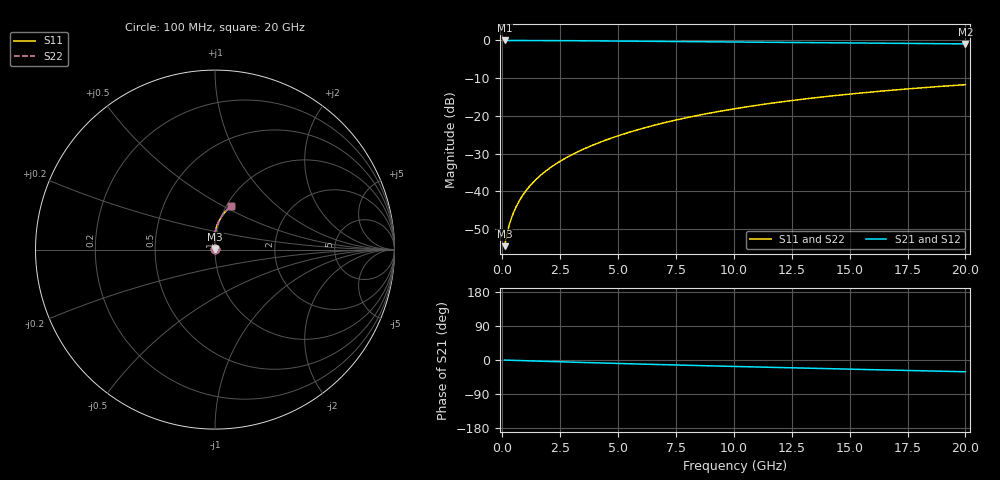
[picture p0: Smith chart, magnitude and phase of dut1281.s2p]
! Touchstone file exported from HFSS 2024.1.0
!  File:  C:/UserFiles/LocalFiles/RDL_TSV_Batchsim/temp_RDL_bottom_1281_1780246647.aedt
!  Generated:  12:59:52 AM Jun  1, 2026
!  Design:  RDL_bottom
!  Project:  temp_RDL_bottom_1281_1780246647
!  Setup:  Setup1
!  Solution:  Sweep
! Variables:
!  dtsv = 10.80580581um
!  hbump = 3um
!  htsv = 98.57um
!  ldown = 443.29um
!  lrdl = 100um
!  p = 40
!  p1 = 54.34um
!  rhole = 1um
!  t = 450um
!  tdown = 4.27um
!  trdl = 3.915915916um
!  wdown = 29.08um
!  wrdl = 20um
# GHz S MA R 50.000000
! Terminal data exported
! Port[1] = RDL1_T1
! Port[2] = RDL1_T2
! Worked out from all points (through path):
!   200 points, 100 MHz to 20 GHz, reference 50 ohm
!   highest |S21| = -0.01 dB at 100 MHz (marker M1); lowest = -0.9 dB at 20 GHz (marker M2)
!   group delay of S21, straight-line fit = 4.24 ps
!   lowest |S11| = -54.6 dB at 100 MHz (marker M3), VSWR 1.00, Z = 50.1 + j0.113 ohm
!   |S11| at or under -10 dB: start of sweep to end of sweep
!   |S22| runs from -54.6 to -11.7 dB; largest |S21 - S12| = 5.1e-15
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0.1  0.001871 37.2  0.9985 -0.2  0.9985 -0.2  0.001871 37.2
! Gamma 0 0 0 0
! Port Impedance 50 0 50 0
0.2  0.002704 53.7  0.9983 -0.4  0.9983 -0.4  0.002704 53.7
0.3  0.003583 61.8  0.9982 -0.6  0.9982 -0.6  0.003584 61.8
0.4  0.004463 66.9  0.9981 -0.8  0.9981 -0.8  0.004463 66.9
0.5  0.005348 70.6  0.9979 -1.0  0.9979 -1.0  0.005349 70.6
0.6  0.006245 73.5  0.9978 -1.2  0.9978 -1.2  0.006245 73.5
0.8  0.008073 77.6  0.9975 -1.5  0.9975 -1.5  0.008073 77.6
1.1  0.01089 81.6  0.997 -2.1  0.997 -2.1  0.01089 81.6
1.3  0.01281 83.4  0.9966 -2.5  0.9966 -2.5  0.01281 83.4
1.6  0.01575 85.5  0.9959 -3.1  0.9959 -3.1  0.01575 85.5
2.1  0.02081 87.9  0.9944 -4.0  0.9944 -4.0  0.02081 87.9
2.7  0.02715 89.7  0.9921 -5.1  0.9921 -5.1  0.02716 89.7
3.5  0.0361 91.2  0.9886 -6.5  0.9886 -6.5  0.0361 91.2
4.2  0.04438 91.8  0.985 -7.8  0.985 -7.8  0.04438 91.9
5  0.05434 92.0  0.9807 -9.1  0.9807 -9.1  0.05434 92.0
6.8  0.0783 91.0  0.9703 -12.1  0.9703 -12.1  0.07831 91.0
8.4  0.1008 89.0  0.961 -14.6  0.961 -14.6  0.1008 89.0
10.1  0.1251 86.4  0.9514 -17.1  0.9514 -17.1  0.1252 86.4
11.7  0.1481 83.7  0.9426 -19.5  0.9426 -19.5  0.1481 83.7
13.4  0.1721 80.8  0.9335 -21.9  0.9335 -21.9  0.1722 80.8
16.7  0.217 75.1  0.9164 -26.5  0.9164 -26.5  0.2171 75.1
20  0.259 69.7  0.8995 -31.0  0.8995 -31.0  0.259 69.7
